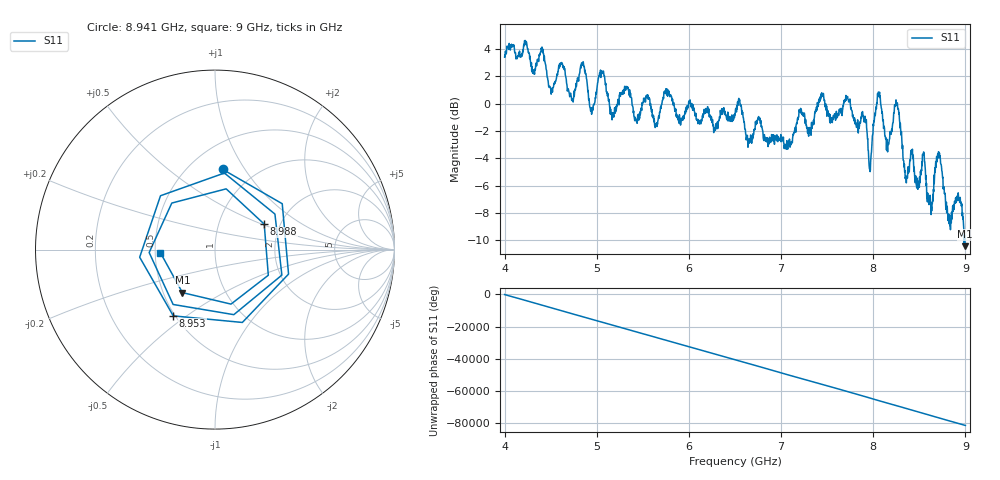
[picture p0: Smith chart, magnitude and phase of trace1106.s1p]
! Created with skrf 1.8.0 (http://scikit-rf.org).
# Hz S RI R 50.0
!freq ReS11 ImS11
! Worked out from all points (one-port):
!   1601 points, 4 GHz to 9 GHz, reference 50 ohm
!   lowest |S11| = -10.4 dB at 8.997 GHz (marker M1), VSWR 1.86, Z = 31.3 - j16.5 ohm
!   |S11| at or under -10 dB: 8.987126 GHz to 8.989087 GHz (1.96 MHz wide, 0.0218 % of centre); 8.994052 GHz to end of sweep
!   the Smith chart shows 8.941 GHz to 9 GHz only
!   S11 on the Smith chart (normalised r, x): 8.941 GHz: 0.71, +0.80; 8.953 GHz: 0.49, -0.45; 8.988 GHz: 1.65, +0.52; 9 GHz: 0.53, -0.02
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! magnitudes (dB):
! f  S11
! 4 GHz  3.4
! 4.406 GHz  4.1
! 4.503 GHz  0.8
! 4.625 GHz  2.9
! 4.725 GHz  0.5
! 4.844 GHz  2.9
! 4.944 GHz  -0.8
! 5.05 GHz  2.3
! 5.162 GHz  -0.7
! 5.25 GHz  0.8
! 5.875 GHz  -0.9
! 6.5 GHz  -0.8
! 7.125 GHz  -2.5
! 7.75 GHz  0.1
! 7.962 GHz  -4.8
! 8.053 GHz  0.7
! 8.153 GHz  -3.2
! 8.256 GHz  -0.1
! 8.375 GHz  -4.6
! 8.547 GHz  -3.5
! 8.625 GHz  -7.2
! 8.712 GHz  -4.0
! 8.822 GHz  -8.3
! 8.941 GHz  -6.9
! 8.953 GHz  -7.2
! 8.988 GHz  -10.2
! 8.997 GHz  -10.4
! 9 GHz  -10.3
